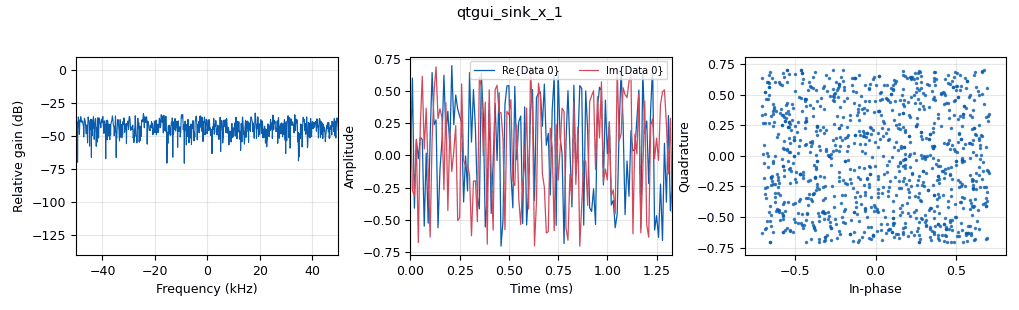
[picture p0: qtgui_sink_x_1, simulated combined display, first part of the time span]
options:
  parameters:
    generate_options: qt_gui
    id: test2
    output_language: python
    title: Not titled yet
  states: {}

blocks:
- name: samp_rate
  id: variable
  parameters:
    value: '100000'
  states: {}
- name: analog_fastnoise_source_x_0
  id: analog_fastnoise_source_x
  parameters:
    amp: '1'
    noise_type: analog.GR_UNIFORM
    samples: '8192'
    seed: '0'
    type: complex
  states: {}
- name: blocks_file_sink_0
  id: blocks_file_sink
  parameters:
    file: in_xxx
    type: complex
    unbuffered: 'True'
  states: {state: disabled}
- name: blocks_file_sink_0_0
  id: blocks_file_sink
  parameters:
    file: out_xxx
    type: complex
    unbuffered: 'True'
  states: {state: disabled}
- name: blocks_throttle_0
  id: blocks_throttle
  parameters:
    samples_per_second: samp_rate
    type: complex
  states: {}
- name: ofdmflexframegen_0
  id: ofdmflexframegen
  parameters:
    in_type: complex
    mcs: 5 - r2/3 16-QAM
  states: {}
- name: ofdmflexframesync_0
  id: ofdmflexframesync
  parameters:
    out_type: complex
  states: {}
- name: qtgui_sink_x_0
  id: qtgui_sink_x
  parameters:
    bw: samp_rate
    fc: '0'
    fftsize: '1024'
    type: complex
    wintype: firdes.WIN_BLACKMAN_hARRIS
  states: {}
- name: qtgui_sink_x_1
  id: qtgui_sink_x
  parameters:
    bw: samp_rate
    fc: '0'
    fftsize: '1024'
    type: complex
    wintype: firdes.WIN_BLACKMAN_hARRIS
  states: {}

connections:
- [analog_fastnoise_source_x_0, '0', blocks_throttle_0, '0']
- [blocks_throttle_0, '0', blocks_file_sink_0, '0']
- [blocks_throttle_0, '0', ofdmflexframegen_0, '0']
- [blocks_throttle_0, '0', qtgui_sink_x_1, '0']
- [ofdmflexframegen_0, '0', ofdmflexframesync_0, '0']
- [ofdmflexframesync_0, '0', blocks_file_sink_0_0, '0']
- [ofdmflexframesync_0, '0', qtgui_sink_x_0, '0']

metadata:
  file_format: 1
